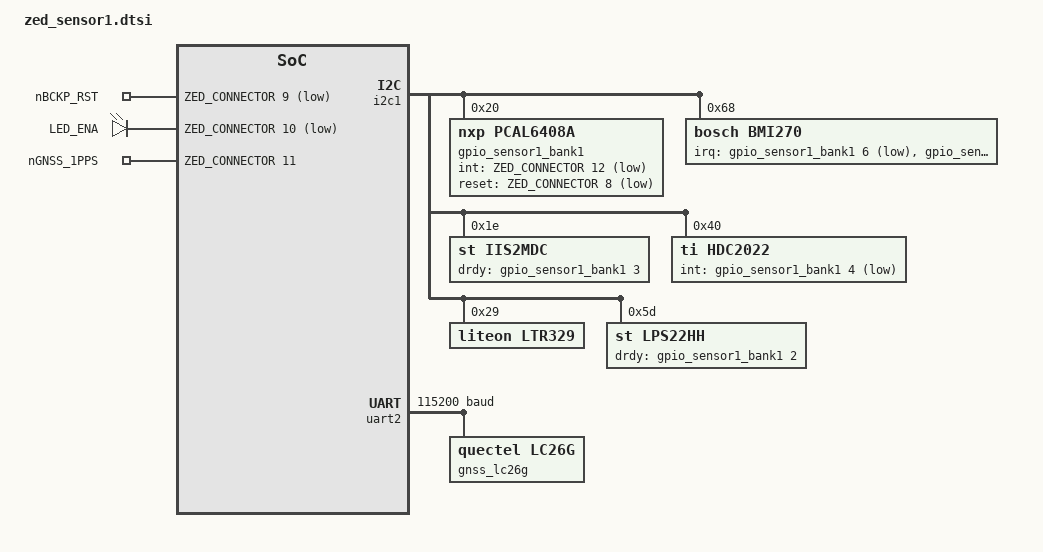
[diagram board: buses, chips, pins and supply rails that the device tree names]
/*
 * SPDX-License-Identifier: Apache-2.0
 *
 * Copyright (c) 2025 Lawrence King
 */

#include <zephyr/dt-bindings/gpio/gpio.h>
#include <zephyr/dt-bindings/gpio/nordic-nrf-gpio.h>
#include <zephyr/dt-bindings/pinctrl/nrf-pinctrl.h>
/{
	aliases {
		gnss = &gnss_lc26g;
		sensor1gnss1pps = &input_gnss_1pps;
		sensor1anton = &input_ant_on;
		sensor1io = &gpio_sensor1_bank1;
		sensor1nbckprst = &gnssnbckprst;
		sensor1ledena = &ledena;
	};

	leds {
		status = "okay";
		compatible = "gpio-leds";
		gnssnbckprst: gnss_nbckp_rst {
			gpios = <&ZED_CONNECTOR 9 GPIO_ACTIVE_LOW>;
			label = "nBCKP_RST";
		};
		ledena: sensor_led_ena {
			gpios = <&ZED_CONNECTOR 10 GPIO_ACTIVE_LOW>;
			label = "LED_ENA";
		};
	};
	inputs	{
		compatible = "gpio-keys";
		input_gnss_1pps: U1_3 {
			gpios = <&ZED_CONNECTOR 11 GPIO_ACTIVE_HIGH>;
			label = "nGNSS_1PPS";
		};
	};
};

&i2c1 {
	status = "okay";
	compatible = "nordic,nrf-twim";
	status = "okay";
	pinctrl-0 = <&I2C_DEFAULT>; 
	pinctrl-1 = <&I2C_SLEEP>; 
	pinctrl-names = "default", "sleep";
	zephyr,concat-buf-size = <512>;

	gpio_sensor1_bank1: pcal6408a@20 {
		compatible = "nxp,pcal6408a";
		reg = <0x20>;
		gpio-controller;
		#gpio-cells = <2>;
		ngpios = <8>;
		int-gpios = <&ZED_CONNECTOR 12 (GPIO_ACTIVE_LOW|GPIO_PULL_UP)>;	/* pin 12 on ZED_CONNECTOR */
		reset-gpios = <&ZED_CONNECTOR 8 GPIO_ACTIVE_LOW>;	/* pin 8 on ZED_CONNECTOR */
		/* GPIOs connected to sensor1_bank1 I/O expander. The remaining pins are */
		/* interrupts comming from the various other devices on the shield and */
		/* get configured when the interrupting device gets configured */
		u10_inputs	{
			compatible = "gpio-keys";
			input_ant_on: u10_p0 {
				gpios = <&gpio_sensor1_bank1 0 GPIO_ACTIVE_HIGH>;
				label = "ANT_ON";
			};
			ngnss_rst: u10_p5 { /* TODO - this will be an OC output on rev 2.0.0 */
				gpios = <&gpio_sensor1_bank1 5 (GPIO_ACTIVE_LOW|GPIO_OPEN_DRAIN)>;
				label = "nGNSS_RST";
			};
		};
	};
	bmi270@68 {
		/* the IRQ goes to the pcal6408a, then to pin12 on ZED_CONNECTOR */
		compatible = "bosch,bmi270";
		reg = <0x68>;
		irq-gpios =	<&gpio_sensor1_bank1 6 GPIO_ACTIVE_LOW>,	/* BMI_IRQ1 */
				<&gpio_sensor1_bank1 7 GPIO_ACTIVE_LOW>;	/* BMI_IRQ2 */
	};
	iis2mdc@1e {
		compatible = "st,iis2mdc";
		reg = <0x1e>;
		drdy-gpios = <&gpio_sensor1_bank1 3 GPIO_ACTIVE_HIGH>;	/* MAG_IRQ */
	};
	hdc2022@40 {
		compatible = "ti,hdc2022";
		reg = <0x40>;
		int-gpios = <&gpio_sensor1_bank1 4 GPIO_ACTIVE_LOW>;	/*HDC_IRQ */
	};  
	ltr329@29 {
		/* we actually have a ltr303 which has additional */
		/* registers for interrupt */
		compatible = "liteon,ltr329";
		reg = <0x29>;
		// int-gpios = <&gpio_sensor1_bank1 1 GPIO_ACTIVE_LOW>;	/* ALS_IRQ */
	};
	lps22hh@5d {
		compatible = "st,lps22hh";
		reg = <0x5d>;
		drdy-gpios = <&gpio_sensor1_bank1 2 (GPIO_ACTIVE_HIGH|GPIO_PULL_DOWN)>; /* PRESS_DRDY */
		status = "okay";
	};
};

&uart2 { /* used for the GNSS receiver */
	status = "okay";
	pinctrl-0 = <&UART_DEFAULT>; 
	pinctrl-1 = <&UART_SLEEP>; 
	current-speed = <115200>;
	pinctrl-names = "default", "sleep";

	gnss_lc26g: lc26g {
		compatible = "quectel,lc26g";
		pps-mode = "GNSS_PPS_MODE_ENABLED";
	};

};

